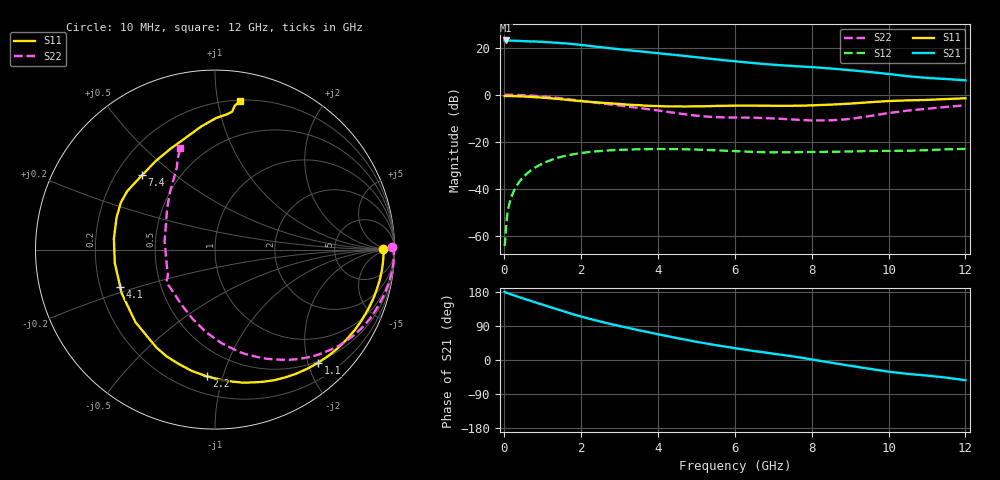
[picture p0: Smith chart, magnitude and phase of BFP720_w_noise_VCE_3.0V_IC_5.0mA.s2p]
! Infineon Technologies  Discrete & RF Semiconductors
! BFP720
! VCE =  3.0 V,  IC =  5.0 mA
! Common Emitter S-Parameters:  Aug 2012
# GHz  S  MA  R  50
!  f  S11  S21  S12  S22
! GHz  MAG  ANG  MAG  ANG  MAG  ANG  MAG  ANG
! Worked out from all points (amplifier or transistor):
!   105 points, 10 MHz to 12 GHz, reference 50 ohm
!   highest |S21| = 23.1 dB at 50 MHz (marker M1)
!   |S21| within 3 dB of that: start of sweep to 2.582 GHz
!   unconditionally stable (mu >= 1): start of sweep to 10.64 MHz; 6.554 GHz to 11.47 GHz
!   at 300 MHz: K = 0.05, MSG = 31.1 dB, |S12| = -39.3 dB
!   at 3.6 GHz: K = 0.48, MSG = 20.8 dB, |S12| = -23.2 dB
!   at 12 GHz: K = 0.82, MSG = 14.6 dB, |S12| = -23.0 dB
!   lowest NFmin = 0.39 dB at 450 MHz
!   S11 on the Smith chart (normalised r, x): 10 MHz: 30, +2; 1.1 GHz: 0.47, -2.18; 2.2 GHz: 0.31, -0.89; 4.1 GHz: 0.29, -0.18; 7.4 GHz: 0.31, +0.38; 12 GHz: 0.21, +1.16
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0.01  0.9354 0.2  14.19 180.0  0.0006 -19.9  0.9852 0.8
0.02  0.9402 -0.8  14.09 178.6  0.0007 98.1  0.9971 -0.5
0.05  0.9392 -2.1  14.25 177.6  0.0016 85.1  0.9967 -1.4
0.2  0.9352 -8.5  14.1 172.4  0.0072 84.1  0.9945 -5.9
0.5  0.9158 -21.3  13.79 162.2  0.0178 76.4  0.9765 -14.7
0.8  0.8875 -34.5  13.58 152.4  0.0281 68.7  0.9472 -23.6
1.1  0.8534 -47.6  13.13 142.8  0.0375 60.5  0.9053 -32.3
1.6  0.7834 -70.1  12.38 126.6  0.0502 47.7  0.8163 -46.1
1.9  0.7418 -82.5  11.67 117.5  0.0559 40.7  0.7593 -53.6
2.1  0.7173 -90.0  11.18 112.0  0.0588 36.5  0.7228 -58.1
2.2  0.7075 -93.8  10.96 109.2  0.0602 34.4  0.7054 -60.3
2.6  0.6683 -107.7  10.05 99.0  0.0644 27.1  0.6432 -68.5
3  0.6361 -120.8  9.255 89.6  0.0672 20.8  0.589 -76.2
3.5  0.6 -137.6  8.413 78.4  0.0692 13.7  0.5242 -85.8
4.1  0.5678 -158.3  7.491 65.9  0.0698 6.5  0.4496 -98.3
5  0.5667 173.8  6.272 47.9  0.0681 -2.6  0.3584 -121.6
6.1  0.586 152.1  5.043 29.7  0.0626 -9.0  0.3261 -142.9
7.4  0.5803 134.5  4.129 11.1  0.0597 -9.2  0.3007 -151.1
8.5  0.6147 113.7  3.602 -7.0  0.0609 -10.8  0.2848 170.4
9.5  0.6902 96.4  3.047 -23.1  0.0635 -12.4  0.3498 139.7
10.5  0.7577 84.8  2.47 -36.7  0.0642 -14.5  0.4591 119.9
12  0.8388 80.4  2.021 -53.4  0.0704 -18.9  0.5955 108.9
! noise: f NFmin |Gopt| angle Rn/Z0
0.45  0.39  0.49  4  0.18
1.8  0.49  0.47  25  0.14
2.4  0.53  0.34  60  0.19
5.5  0.68  0.22  65  0.13
10  0.97  0.4  -93  0.22
